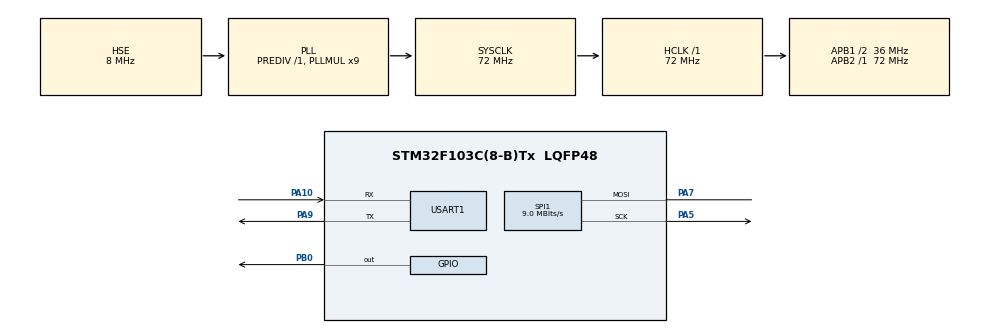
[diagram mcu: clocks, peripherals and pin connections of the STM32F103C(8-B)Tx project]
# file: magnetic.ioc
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Mcu.Family=STM32F1
Mcu.Name=STM32F103C(8-B)Tx
Mcu.Package=LQFP48
NVIC.PriorityGroup=NVIC_PRIORITYGROUP_4
PA10.Mode=Asynchronous
PA10.Signal=USART1_RX
PA13.Mode=Serial_Wire
PA13.Signal=SYS_JTMS-SWDIO
PA14.Mode=Serial_Wire
PA14.Signal=SYS_JTCK-SWCLK
PA5.Mode=Simplex_Bidirectional_Master
PA5.Signal=SPI1_SCK
PA7.Mode=Simplex_Bidirectional_Master
PA7.Signal=SPI1_MOSI
PA9.Mode=Asynchronous
PA9.Signal=USART1_TX
PB0.GPIO_ModeDefaultOutputPP=GPIO_MODE_OUTPUT_PP
PB0.PinState=GPIO_PIN_SET
PB0.Signal=GPIO_Output
PD0-OSC_IN.Mode=HSE-External-Oscillator
PD0-OSC_IN.Signal=RCC_OSC_IN
PD1-OSC_OUT.Mode=HSE-External-Oscillator
PD1-OSC_OUT.Signal=RCC_OSC_OUT
ProjectManager.HeapSize=0x200
ProjectManager.StackSize=0x400
ProjectManager.TargetToolchain=MDK-ARM V5.32
RCC.AHBFreq_Value=72000000
RCC.APB1CLKDivider=RCC_HCLK_DIV2
RCC.APB1Freq_Value=36000000
RCC.APB1TimFreq_Value=72000000
RCC.APB2Freq_Value=72000000
RCC.APB2TimFreq_Value=72000000
RCC.HCLKFreq_Value=72000000
RCC.PLLMUL=RCC_PLL_MUL9
RCC.PLLSourceVirtual=RCC_PLLSOURCE_HSE
RCC.SYSCLKFreq_VALUE=72000000
RCC.SYSCLKSource=RCC_SYSCLKSOURCE_PLLCLK
RCC.USBFreq_Value=72000000
SPI1.BaudRatePrescaler=SPI_BAUDRATEPRESCALER_8
SPI1.CLKPhase=SPI_PHASE_2EDGE
SPI1.CLKPolarity=SPI_POLARITY_HIGH
SPI1.CRCCalculation=SPI_CRCCALCULATION_ENABLE
SPI1.CalculateBaudRate=9.0 MBits/s
SPI1.DataSize=SPI_DATASIZE_8BIT
SPI1.Direction=SPI_DIRECTION_1LINE
SPI1.Mode=SPI_MODE_MASTER
SPI1.VirtualType=VM_MASTER
USART1.VirtualMode=VM_ASYNC
board=custom

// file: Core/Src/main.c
/* USER CODE BEGIN Header */
/**
  ******************************************************************************
  * @file           : main.c
  * @brief          : Main program body
  ******************************************************************************
  * @attention
  *
  * Copyright (c) 2025 STMicroelectronics.
  * All rights reserved.
  *
  * This software is licensed under terms that can be found in the LICENSE file
  * in the root directory of this software component.
  * If no LICENSE file comes with this software, it is provided AS-IS.
  *
  ******************************************************************************
  */
/* USER CODE END Header */
#include "main.h"
#include "spi.h"
#include "usart.h"
#include "gpio.h"

/* USER CODE BEGIN Includes */
#include "tle5012b.h"
#include "stdio.h"
#include "string.h"
/* USER CODE END Includes */

void SystemClock_Config(void);
/* USER CODE BEGIN PFP */
uint16_t TxRx(uint16_t tx);
uint16_t TLE5012B_ReadRawAngle(void);
float TLE5012B_ReadAngle_Deg(void);
void tle5012b_Init(void);
/* USER CODE END PFP */

/* USER CODE BEGIN 0 */

void tle5012b_Init(void)
{
    // 读取设备ID验证连接
    TxRx(0x8081);  // 读取MOD1寄存器
    HAL_Delay(1);
    uint16_t id = TxRx(0x0000);

    // 可以添加设备验证逻辑
    // if ((id & 0xFF) != 预期值) { 错误处理 }

    // 配置编码器参数（根据需要）
    // TxRx(0x5090); // 示例配置
    // HAL_Delay(1);
    // TxRx(0x0001); // 启用滤波器等
}
uint16_t TxRx(uint16_t tx)
{
		uint16_t rx = 0;//这里要定义一个16位的数当作后面要拼成的结果
    uint8_t txData[2];
    uint8_t rxData[2];

    txData[0] = (tx >> 8) & 0xFF;
    txData[1] = tx & 0xFF;
	//第一次发送，没有检验
	HAL_GPIO_WritePin(GPIOB,GPIO_PIN_0,GPIO_PIN_RESET);
	HAL_SPI_TransmitReceive(&hspi1,txData,rxData,2,HAL_MAX_DELAY);
	HAL_GPIO_WritePin(GPIOB,GPIO_PIN_0,GPIO_PIN_SET);
//
//	HAL_Delay(1);
	//第二次发送
//	HAL_GPIO_WritePin(GPIOB,GPIO_PIN_0,GPIO_PIN_RESET);
//	HAL_SPI_TransmitReceive(&hspi1,txData,rxData,2,HAL_MAX_DELAY);
//	HAL_GPIO_WritePin(GPIOB,GPIO_PIN_0,GPIO_PIN_SET);
//
	rx = ((uint16_t)rxData[0] << 8) | rxData[1];//原来可以用两个数组拼起来第一个数组强制转换后再接第二个数组
  return rx;
}

uint16_t TLE5012B_ReadRawAngle(void)
{
	TxRx(0x082);
	HAL_Delay(1);
//	TxRx(0x0083);
//  TxRx(0x8020);  // 第一次命令
//	HAL_Delay(1);
  uint16_t raw = TxRx(0xFFFF); // 第二次读取

    return raw & 0x7FFF; // 15bit 角度数据
	//当一个数&上0x7fff时代表保留15位
}
float TLE5012B_ReadAngle_Deg(void)
{
    uint16_t raw = TLE5012B_ReadRawAngle();
    float angle = (raw * 360.0f) / 32768.0f;
    return angle;
}
/* USER CODE END 0 */

int main(void)
{

  /* MCU Configuration--------------------------------------------------------*/

  /* Reset of all peripherals, Initializes the Flash interface and the Systick. */
  HAL_Init();

  /* Configure the system clock */
  SystemClock_Config();

  /* Initialize all configured peripherals */
  MX_GPIO_Init();
  MX_USART1_UART_Init();
  MX_SPI1_Init();

  /* Infinite loop */
  /* USER CODE BEGIN WHILE */
	tle5012b_Init();

  char buf[50];
  float angle = 0;

	//HAL_UART_Receive_DMA(&huart1,(uint8_t *)a,sizeof(a));
  while (1)
  {
    angle = TLE5012B_ReadAngle_Deg();

    sprintf(buf, "Angle: %.2f\r\n", angle);
    HAL_UART_Transmit(&huart1, (uint8_t*)buf, strlen(buf), 100);

        HAL_Delay(50);
//		angle = TLE5012B_Read_Angle();
//		sprintf(a,"%f",angle);
    /* USER CODE END WHILE */

  }
}

void SystemClock_Config(void)
{
  RCC_OscInitTypeDef RCC_OscInitStruct = {0};
  RCC_ClkInitTypeDef RCC_ClkInitStruct = {0};

  /** Initializes the RCC Oscillators according to the specified parameters
  * in the RCC_OscInitTypeDef structure.
  */
  RCC_OscInitStruct.OscillatorType = RCC_OSCILLATORTYPE_HSE;
  RCC_OscInitStruct.HSEState = RCC_HSE_ON;
  RCC_OscInitStruct.HSEPredivValue = RCC_HSE_PREDIV_DIV1;
  RCC_OscInitStruct.HSIState = RCC_HSI_ON;
  RCC_OscInitStruct.PLL.PLLState = RCC_PLL_ON;
  RCC_OscInitStruct.PLL.PLLSource = RCC_PLLSOURCE_HSE;
  RCC_OscInitStruct.PLL.PLLMUL = RCC_PLL_MUL9;
  if (HAL_RCC_OscConfig(&RCC_OscInitStruct) != HAL_OK)
  {
    Error_Handler();
  }

  /** Initializes the CPU, AHB and APB buses clocks
  */
  RCC_ClkInitStruct.ClockType = RCC_CLOCKTYPE_HCLK|RCC_CLOCKTYPE_SYSCLK
                              |RCC_CLOCKTYPE_PCLK1|RCC_CLOCKTYPE_PCLK2;
  RCC_ClkInitStruct.SYSCLKSource = RCC_SYSCLKSOURCE_PLLCLK;
  RCC_ClkInitStruct.AHBCLKDivider = RCC_SYSCLK_DIV1;
  RCC_ClkInitStruct.APB1CLKDivider = RCC_HCLK_DIV2;
  RCC_ClkInitStruct.APB2CLKDivider = RCC_HCLK_DIV1;

  if (HAL_RCC_ClockConfig(&RCC_ClkInitStruct, FLASH_LATENCY_2) != HAL_OK)
  {
    Error_Handler();
  }
}

void Error_Handler(void)
{
  __disable_irq();
  while (1)
  {
  }
}
